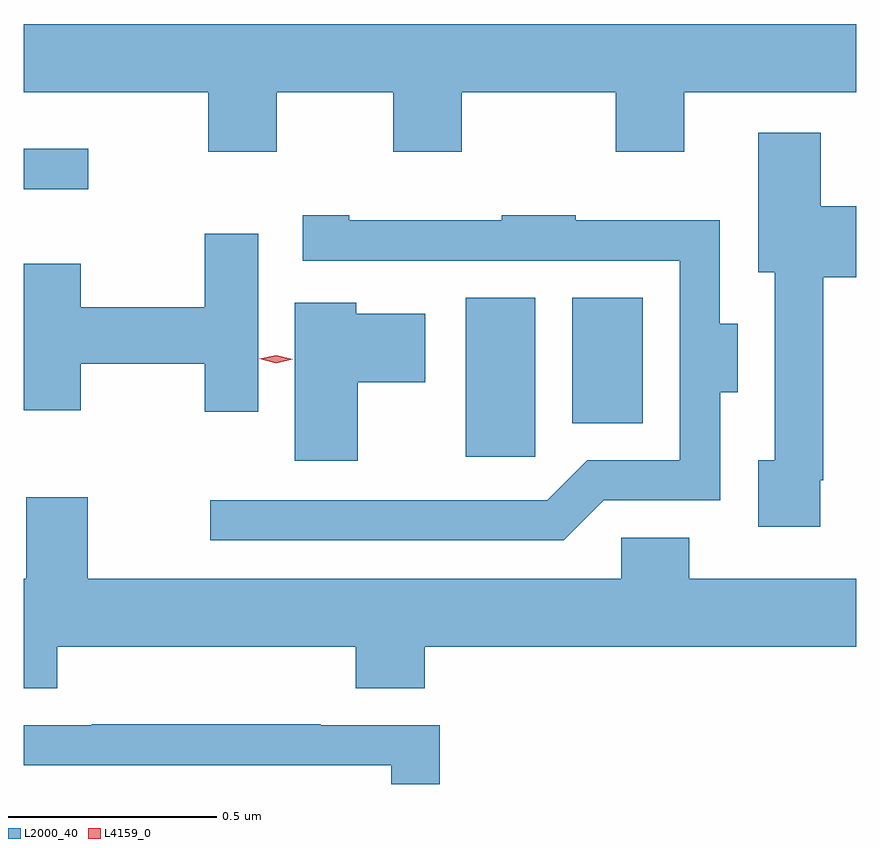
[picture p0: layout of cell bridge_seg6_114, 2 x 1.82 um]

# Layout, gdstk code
import gdstk
lib = gdstk.Library(unit=1e-6, precision=1e-09)
def R(c, l, rs):  # rectangles x0, y0, x1, y1
    for r in rs: c.add(gdstk.rectangle(r[:2], r[2:], *l))
def P(c, l, *ps):  # polygons
    for p in ps: c.add(gdstk.Polygon(p, *l))
L2000_40 = (2000, 40)
L4159_0 = (4159, 0)

bridge_seg6_114 = lib.new_cell('bridge_seg6_114')
R(bridge_seg6_114, L2000_40, [(461.021,929.145,461.188,929.527), (461.276,929.225,461.446,929.527), (459.959,929.787,460.114,929.884)])
P(bridge_seg6_114, L2000_40, [(460.567,930.02),(460.847,930.02),(460.847,929.877),(461.011,929.877),(461.011,930.02),(461.381,930.02),(461.381,929.877),(461.545,929.877),(461.545,930.02),(461.959,930.02),(461.959,930.184),(459.959,930.184),(459.959,930.02),(460.403,930.02),(460.403,929.877),(460.567,929.877)],
  [(461.872,929.089),(461.879,929.089),(461.879,929.576),(461.959,929.576),(461.959,929.746),(461.873,929.746),(461.873,929.923),(461.723,929.923),(461.723,929.588),(461.763,929.588),(461.763,929.137),(461.723,929.137),(461.723,928.977),(461.872,928.977)],
  [(461.352,929.04),(461.632,929.04),(461.632,929.3),(461.674,929.3),(461.674,929.464),(461.631,929.464),(461.631,929.713),(461.285,929.713),(461.285,929.725),(461.107,929.725),(461.107,929.713),(460.741,929.713),(460.741,929.725),(460.629,929.725),(460.629,929.616),(461.535,929.616),(461.535,929.136),(461.313,929.136),(461.217,929.04),(460.407,929.04),(460.407,928.944),(461.256,928.944)],
  [(460.522,929.68),(460.394,929.68),(460.394,929.504),(460.096,929.504),(460.096,929.608),(459.959,929.608),(459.959,929.256),(460.096,929.256),(460.096,929.368),(460.394,929.368),(460.394,929.253),(460.522,929.253)],
  [(460.762,929.324),(460.924,929.324),(460.924,929.488),(460.758,929.488),(460.758,929.515),(460.61,929.515),(460.61,929.135),(460.762,929.135)],
  [(460.04,928.688),(460.757,928.688),(460.757,928.589),(460.922,928.589),(460.922,928.688),(461.959,928.688),(461.959,928.852),(461.558,928.852),(461.558,928.95),(461.394,928.95),(461.394,928.852),(460.113,928.852),(460.113,929.047),(459.965,929.047),(459.965,928.852),(459.959,928.852),(459.959,928.589),(460.04,928.589)],
  [(460.958,928.5),(460.673,928.5),(460.673,928.502),(460.123,928.502),(460.123,928.5),(459.959,928.5),(459.959,928.404),(460.842,928.404),(460.842,928.359),(460.958,928.359)])
P(bridge_seg6_114, L4159_0, [(460.566,929.369),(460.525,929.38),(460.525,929.38),(460.525,929.38),(460.566,929.389),(460.606,929.379),(460.606,929.379),(460.606,929.379)])

lib.write_gds('bridge_seg6_114.gds')
